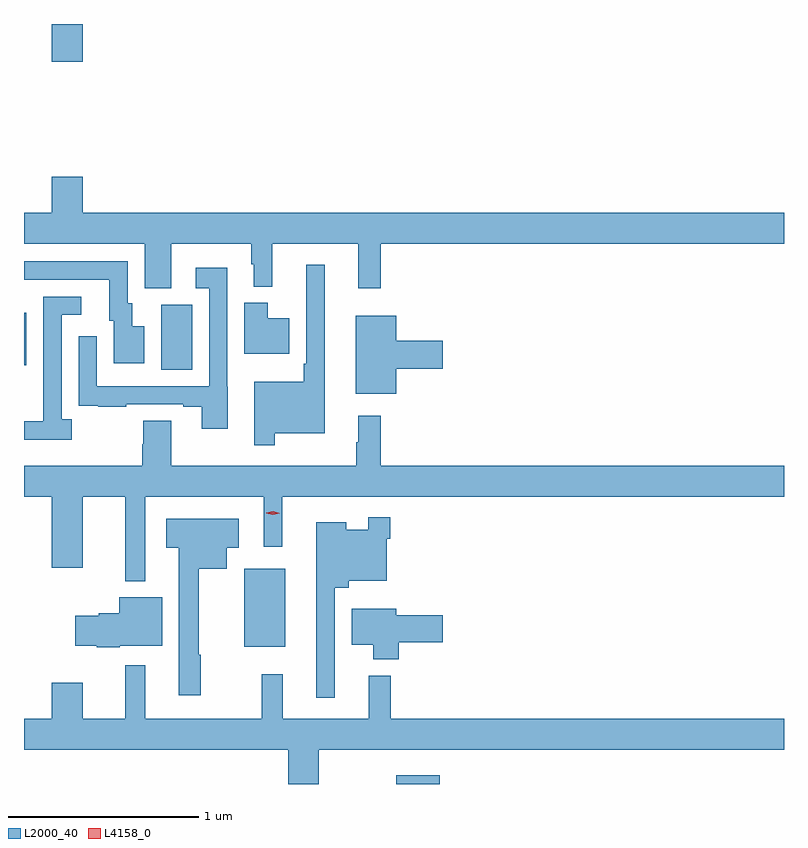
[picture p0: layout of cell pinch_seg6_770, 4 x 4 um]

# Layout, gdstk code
import gdstk
lib = gdstk.Library(unit=1e-6, precision=1e-09)
def R(c, l, rs):  # rectangles x0, y0, x1, y1
    for r in rs: c.add(gdstk.rectangle(r[:2], r[2:], *l))
def P(c, l, *ps):  # polygons
    for p in ps: c.add(gdstk.Polygon(p, *l))
L2000_40 = (2000, 40)
L4158_0 = (4158, 0)

pinch_seg6_770 = lib.new_cell('pinch_seg6_770')
R(pinch_seg6_770, L2000_40, [(250.737,960.477,250.967,960.523), (249.938,961.199,250.153,961.609), (249.5,962.656,249.664,963), (248.778,962.681,248.791,962.956), (248.924,964.278,249.088,964.477)])
P(pinch_seg6_770, L2000_40, [(249.553,963.32),(249.975,963.32),(249.975,963.213),(249.986,963.213),(249.986,963.095),(250.085,963.095),(250.085,963.32),(250.538,963.32),(250.538,963.087),(250.655,963.087),(250.655,963.32),(252.778,963.32),(252.778,963.484),(249.088,963.484),(249.088,963.673),(248.924,963.673),(248.924,963.484),(248.778,963.484),(248.778,963.32),(249.413,963.32),(249.413,963.085),(249.553,963.085)],
  [(249.412,962.887),(249.349,962.887),(249.349,963.006),(249.324,963.006),(249.324,963.228),(248.778,963.228),(248.778,963.132),(249.227,963.132),(249.227,962.916),(249.251,962.916),(249.251,962.691),(249.412,962.691)],
  [(250.099,962.324),(250.36,962.324),(250.36,963.211),(250.263,963.211),(250.263,962.689),(250.251,962.689),(250.251,962.593),(249.99,962.593),(249.99,962.259),(250.099,962.259)],
  [(249.85,962.568),(249.849,962.568),(249.849,963.193),(249.681,963.193),(249.681,963.087),(249.753,963.087),(249.753,962.571),(249.162,962.571),(249.162,962.833),(249.066,962.833),(249.066,962.578),(249.067,962.578),(249.067,962.469),(249.169,962.469),(249.169,962.463),(249.317,962.463),(249.317,962.475),(249.617,962.475),(249.617,962.463),(249.713,962.463),(249.713,962.346),(249.85,962.346)],
  [(249.028,962.398),(248.976,962.398),(248.976,962.946),(249.079,962.946),(249.079,963.042),(248.88,963.042),(248.88,962.585),(248.879,962.585),(248.879,962.385),(248.778,962.385),(248.778,962.288),(249.028,962.288)],
  [(250.174,962.929),(250.06,962.929),(250.06,963.01),(249.938,963.01),(249.938,962.741),(250.174,962.741)],
  [(250.738,962.663),(250.981,962.663),(250.981,962.81),(250.738,962.81),(250.738,962.941),(250.523,962.941),(250.523,962.531),(250.738,962.531)],
  [(249.415,961.988),(250.04,961.988),(250.04,961.725),(250.138,961.725),(250.138,961.988),(252.778,961.988),(252.778,962.152),(250.655,962.152),(250.655,962.416),(250.538,962.416),(250.538,962.276),(250.527,962.276),(250.527,962.152),(249.553,962.152),(249.553,962.39),(249.406,962.39),(249.406,962.265),(249.401,962.265),(249.401,962.152),(248.778,962.152),(248.778,961.988),(248.924,961.988),(248.924,961.614),(249.088,961.614),(249.088,961.988),(249.311,961.988),(249.311,961.544),(249.415,961.544)],
  [(250.413,961.511),(250.487,961.511),(250.487,961.547),(250.686,961.547),(250.686,961.769),(250.706,961.769),(250.706,961.882),(250.59,961.882),(250.59,961.816),(250.474,961.816),(250.474,961.855),(250.316,961.855),(250.316,960.93),(250.413,960.93)],
  [(249.707,961.157),(249.697,961.157),(249.697,961.61),(249.844,961.61),(249.844,961.721),(249.907,961.721),(249.907,961.873),(249.527,961.873),(249.527,961.721),(249.593,961.721),(249.593,960.945),(249.707,960.945)],
  [(249.282,961.205),(249.505,961.205),(249.505,961.459),(249.278,961.459),(249.278,961.376),(249.171,961.376),(249.171,961.363),(249.048,961.363),(249.048,961.205),(249.16,961.205),(249.16,961.198),(249.282,961.198)],
  [(250.751,961.222),(250.981,961.222),(250.981,961.364),(250.738,961.364),(250.738,961.399),(250.502,961.399),(250.502,961.211),(250.616,961.211),(250.616,961.133),(250.751,961.133)],
  [(250.329,960.656),(252.778,960.656),(252.778,960.82),(250.709,960.82),(250.709,961.048),(250.592,961.048),(250.592,960.82),(250.139,960.82),(250.139,961.054),(250.029,961.054),(250.029,960.82),(249.415,960.82),(249.415,961.102),(249.311,961.102),(249.311,960.82),(249.088,960.82),(249.088,961.009),(248.924,961.009),(248.924,960.82),(248.778,960.82),(248.778,960.656),(250.169,960.656),(250.169,960.477),(250.329,960.477)])
P(pinch_seg6_770, L4158_0, [(250.088,961.893),(250.053,961.903),(250.053,961.903),(250.053,961.904),(250.089,961.913),(250.124,961.903),(250.124,961.903),(250.124,961.903)])

lib.write_gds('pinch_seg6_770.gds')
